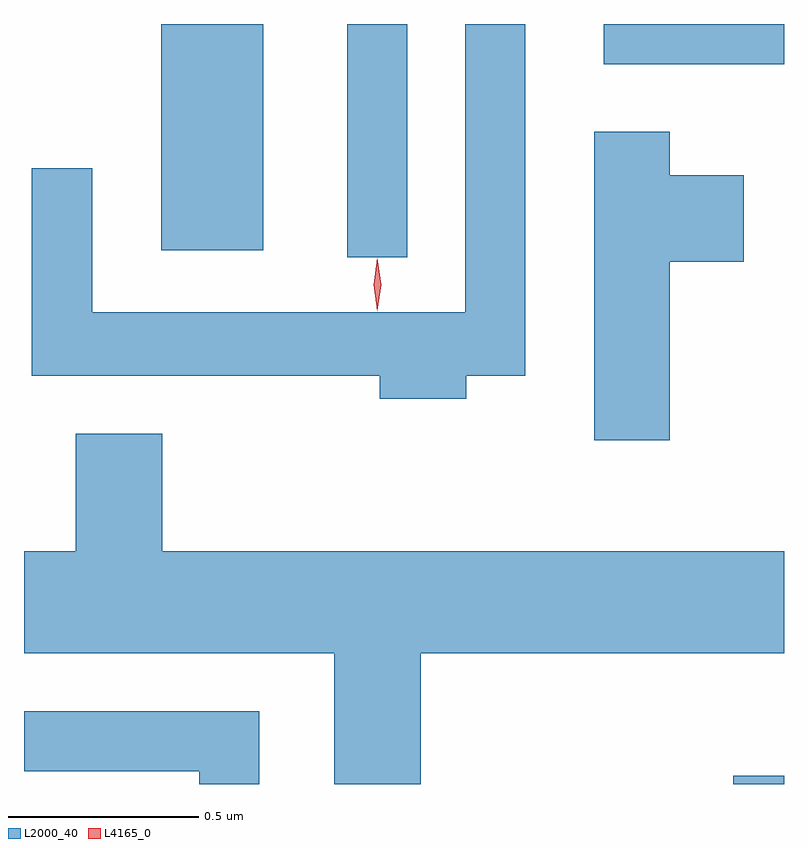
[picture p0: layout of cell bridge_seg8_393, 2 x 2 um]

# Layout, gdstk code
import gdstk
lib = gdstk.Library(unit=1e-6, precision=1e-09)
def R(c, l, rs):  # rectangles x0, y0, x1, y1
    for r in rs: c.add(gdstk.rectangle(r[:2], r[2:], *l))
def P(c, l, *ps):  # polygons
    for p in ps: c.add(gdstk.Polygon(p, *l))
L2000_40 = (2000, 40)
L4165_0 = (4165, 0)

bridge_seg8_393 = lib.new_cell('bridge_seg8_393')
R(bridge_seg8_393, L2000_40, [(684.081,1902.672,684.215,1902.694), (683.066,1904.058,683.224,1904.672), (682.576,1904.076,682.844,1904.672), (683.741,1904.566,684.215,1904.672)])
P(bridge_seg8_393, L2000_40, [(683.379,1903.746),(683.534,1903.746),(683.534,1904.672),(683.376,1904.672),(683.376,1903.914),(682.394,1903.914),(682.394,1904.293),(682.236,1904.293),(682.236,1903.746),(683.151,1903.746),(683.151,1903.686),(683.379,1903.686)],
  [(683.914,1904.046),(684.109,1904.046),(684.109,1904.274),(683.914,1904.274),(683.914,1904.389),(683.716,1904.389),(683.716,1903.576),(683.914,1903.576)],
  [(683.259,1903.016),(684.215,1903.016),(684.215,1903.284),(682.579,1903.284),(682.579,1903.594),(682.351,1903.594),(682.351,1903.284),(682.215,1903.284),(682.215,1903.016),(683.031,1903.016),(683.031,1902.672),(683.259,1902.672)],
  [(682.834,1902.864),(682.215,1902.864),(682.215,1902.706),(682.676,1902.706),(682.676,1902.672),(682.834,1902.672)])
P(bridge_seg8_393, L4165_0, [(683.144,1903.917),(683.135,1903.986),(683.144,1904.056),(683.145,1904.056),(683.145,1904.056),(683.155,1903.986),(683.145,1903.917),(683.145,1903.917)],
  [(683.145,1903.919),(683.144,1903.92),(683.135,1903.986),(683.144,1904.052),(683.145,1904.053),(683.145,1904.052),(683.155,1903.986),(683.145,1903.92)])

lib.write_gds('bridge_seg8_393.gds')
